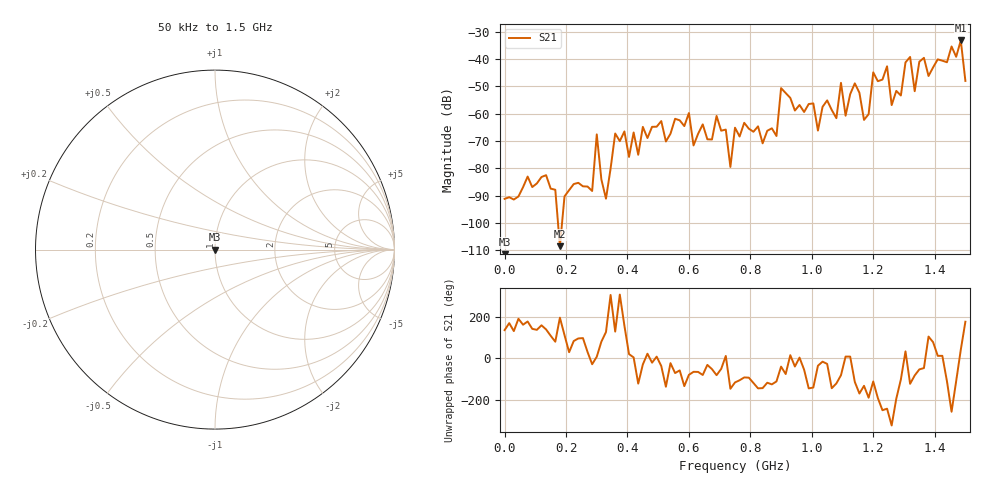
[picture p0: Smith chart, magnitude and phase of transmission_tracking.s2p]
! Created with skrf 1.8.0 (http://scikit-rf.org).
# Hz S RI R 50.0
!freq ReS11 ImS11 ReS21 ImS21 ReS12 ImS12 ReS22 ImS22
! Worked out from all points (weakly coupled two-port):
!   101 points, 50 kHz to 1.5 GHz, reference 50 ohm
!   highest |S21| = -33.24 dB at 1.485 GHz (marker M1); lowest = -108.5 dB at 180 MHz (marker M2)
!   lowest |S11| = - dB at 50 kHz (marker M3), VSWR 1.00, Z = 50 + j0 ohm
!   |S11| at or under -10 dB: start of sweep to end of sweep
!   S12 and S22 are empty: the file has one direction only
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50000  0 0  -1.97e-05 1.94e-05  0 0  0 0
1.80044e8  0 0  -3.64e-06 -9.94e-07  0 0  0 0
2.550415e8  0 0  -5.78e-06 4.66e-05  0 0  0 0
3.0004e8  0 0  0.000414 5.52e-05  0 0  0 0
3.450385e8  0 0  5.58e-05 -8.18e-05  0 0  0 0
5.10033e8  0 0  0.000583 -0.000441  0 0  0 0
6.0003e8  0 0  0.00019 -0.00101  0 0  0 0
6.150295e8  0 0  0.000111 -0.000238  0 0  0 0
6.90027e8  0 0  0.000142 -0.000896  0 0  0 0
7.350255e8  0 0  -8.82e-05 -5.89e-05  0 0  0 0
7.50025e8  0 0  -0.000241 -0.000498  0 0  0 0
1.005016e9  0 0  -0.00118 -0.000981  0 0  0 0
1.020016e9  0 0  0.000399 -0.000285  0 0  0 0
1.140012e9  0 0  -0.00141 -0.00329  0 0  0 0
1.170011e9  0 0  -0.000516 -0.000569  0 0  0 0
1.20001e9  0 0  -0.00205 -0.0053  0 0  0 0
1.245008e9  0 0  -0.00344 0.00648  0 0  0 0
1.260008e9  0 0  0.00114 0.00087  0 0  0 0
1.320006e9  0 0  -0.00584 -0.00917  0 0  0 0
1.335006e9  0 0  0.000345 -0.00255  0 0  0 0
1.485e9  0 0  0.0164 0.0143  0 0  0 0
1.5e9  0 0  -0.00395 0.000284  0 0  0 0
